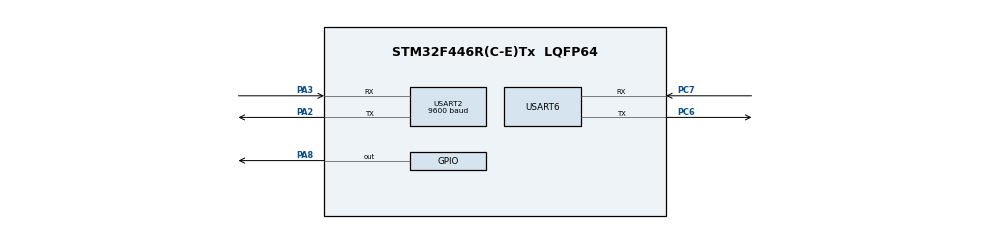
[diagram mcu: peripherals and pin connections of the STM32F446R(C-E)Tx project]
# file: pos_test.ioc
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Mcu.Family=STM32F4
Mcu.Name=STM32F446R(C-E)Tx
Mcu.Package=LQFP64
NVIC.PriorityGroup=NVIC_PRIORITYGROUP_4
PA13.Mode=Serial_Wire
PA13.Signal=SYS_JTMS-SWDIO
PA14.Mode=Serial_Wire
PA14.Signal=SYS_JTCK-SWCLK
PA2.Mode=Asynchronous
PA2.Signal=USART2_TX
PA3.Mode=Asynchronous
PA3.Signal=USART2_RX
PA8.Signal=GPIO_Output
PC6.Mode=Asynchronous
PC6.Signal=USART6_TX
PC7.Mode=Asynchronous
PC7.Signal=USART6_RX
ProjectManager.HeapSize=0x200
ProjectManager.StackSize=0x400
ProjectManager.TargetToolchain=STM32CubeIDE
RCC.CortexFreq_Value=16000000
RCC.USBFreq_Value=96000000
RCC.VCOOutputFreq_Value=192000000
USART2.BaudRate=9600
USART2.VirtualMode=VM_ASYNC
USART6.VirtualMode=VM_ASYNC
board=custom

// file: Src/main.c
/* USER CODE BEGIN Header */
/**
  ******************************************************************************
  * @file           : main.c
  * @brief          : Main program body
  ******************************************************************************
  * @attention
  *
  * <h2><center>&copy; Copyright (c) 2019 STMicroelectronics.
  * All rights reserved.</center></h2>
  *
  * This software component is licensed by ST under BSD 3-Clause license,
  * the "License"; You may not use this file except in compliance with the
  * License. You may obtain a copy of the License at:
  *                        opensource.org/licenses/BSD-3-Clause
  *
  ******************************************************************************
  */
/* USER CODE END Header */

#include "main.h"

UART_HandleTypeDef huart2;
UART_HandleTypeDef huart6;

void SystemClock_Config(void);
static void MX_GPIO_Init(void);
static void MX_USART2_UART_Init(void);
static void MX_USART6_UART_Init(void);

int main(void)
{

  /* MCU Configuration--------------------------------------------------------*/

  /* Reset of all peripherals, Initializes the Flash interface and the Systick. */
  HAL_Init();

  /* Configure the system clock */
  SystemClock_Config();

  /* Initialize all configured peripherals */
  MX_GPIO_Init();
  MX_USART2_UART_Init();
  MX_USART6_UART_Init();
  /* USER CODE BEGIN 2 */

  uint8_t txdata[9] = {0};

    void pos(unsigned char id,short deg,unsigned short time)
  {
      unsigned char deg_l = (unsigned char)(deg)&0x00FF;
      unsigned char deg_h = (unsigned char)(deg>>8)&0x00FF;
      unsigned char time_l = (unsigned char)(time)&0x00FF;
      unsigned char time_h = (unsigned char)(time>>8)&0x00FF;
      unsigned char sum = (0x09+0x06+id+deg_l+deg_h+time_l+time_h)&0x00FF;

      txdata[0]=0x09;   //1 SIZE
      txdata[1]=0x06;   //2 COMMAND
      txdata[2]=0x00;   //3 OPTION
      txdata[3]=id;     //4 ID
      txdata[4]=deg_l;  //5 POS_L
      txdata[5]=deg_h;  //6 POS_H
      txdata[6]=time_l; //7 TIME_L
      txdata[7]=time_h; //8 TIME_H
      txdata[8]=sum;    //9 SUM
      HAL_Delay(0.03);

  }

    void write(unsigned char id,unsigned char data,unsigned char adress)
    {
        unsigned char sum = (0x08+0x04+0x00+id+data+adress+0x01)&0x00FF;
       HAL_GPIO_WritePin(GPIOA, GPIO_PIN_8, 1);
       txdata[0]=0x08;   //1 SIZE
       txdata[1]=0x04;   //2 COMMAND
       txdata[2]=0x00;   //3 OPTION
       txdata[3]=id;     //4 ID
       txdata[4]=data;  //DATA
       txdata[5]=adress;  //ADRESS
       txdata[6]=0x01; //COUNT
       txdata[7]=sum;    //9 SUM
       HAL_UART_Transmit(&huart6, txdata, 8, 0xFFFF);
       HAL_Delay(0.03);
       HAL_GPIO_WritePin(GPIOA, GPIO_PIN_8, 0);

    }

  /* USER CODE END 2 */

  /* Infinite loop */
  while (1)
  {

    /* USER CODE BEGIN 3 */

//制御モード指定
	  write(0x01,0x00,0x28);
	  HAL_Delay(100);
//軌道生成タイプ１：時間制御
	  write(0x01,0x01,0x29);
	  HAL_Delay(100);

	  pos(0x01,10000,1000);
	  HAL_GPIO_WritePin(GPIOA, GPIO_PIN_8, 1);
	  HAL_UART_Transmit(&huart6, txdata, 9, 0xFFFF);
	  HAL_Delay(0.03);
	  HAL_GPIO_WritePin(GPIOA, GPIO_PIN_8, 0);
	  HAL_Delay(1000);

	  pos(0x01,0,1000);
	  HAL_GPIO_WritePin(GPIOA, GPIO_PIN_8, 1);
	  HAL_UART_Transmit(&huart6, txdata,9, 0xFFFF);
	  HAL_Delay(0.03);
	  HAL_GPIO_WritePin(GPIOA, GPIO_PIN_8, 0);
	  HAL_Delay(1000);

  }
  /* USER CODE END 3 */
}

void SystemClock_Config(void)
{
  RCC_OscInitTypeDef RCC_OscInitStruct = {0};
  RCC_ClkInitTypeDef RCC_ClkInitStruct = {0};

  /** Configure the main internal regulator output voltage
  */
  __HAL_RCC_PWR_CLK_ENABLE();
  __HAL_PWR_VOLTAGESCALING_CONFIG(PWR_REGULATOR_VOLTAGE_SCALE3);
  /** Initializes the CPU, AHB and APB busses clocks
  */
  RCC_OscInitStruct.OscillatorType = RCC_OSCILLATORTYPE_HSI;
  RCC_OscInitStruct.HSIState = RCC_HSI_ON;
  RCC_OscInitStruct.HSICalibrationValue = RCC_HSICALIBRATION_DEFAULT;
  RCC_OscInitStruct.PLL.PLLState = RCC_PLL_NONE;
  if (HAL_RCC_OscConfig(&RCC_OscInitStruct) != HAL_OK)
  {
    Error_Handler();
  }
  /** Initializes the CPU, AHB and APB busses clocks
  */
  RCC_ClkInitStruct.ClockType = RCC_CLOCKTYPE_HCLK|RCC_CLOCKTYPE_SYSCLK
                              |RCC_CLOCKTYPE_PCLK1|RCC_CLOCKTYPE_PCLK2;
  RCC_ClkInitStruct.SYSCLKSource = RCC_SYSCLKSOURCE_HSI;
  RCC_ClkInitStruct.AHBCLKDivider = RCC_SYSCLK_DIV1;
  RCC_ClkInitStruct.APB1CLKDivider = RCC_HCLK_DIV1;
  RCC_ClkInitStruct.APB2CLKDivider = RCC_HCLK_DIV1;

  if (HAL_RCC_ClockConfig(&RCC_ClkInitStruct, FLASH_LATENCY_0) != HAL_OK)
  {
    Error_Handler();
  }
}

static void MX_USART2_UART_Init(void)
{

  huart2.Instance = USART2;
  huart2.Init.BaudRate = 9600;
  huart2.Init.WordLength = UART_WORDLENGTH_8B;
  huart2.Init.StopBits = UART_STOPBITS_1;
  huart2.Init.Parity = UART_PARITY_NONE;
  huart2.Init.Mode = UART_MODE_TX_RX;
  huart2.Init.HwFlowCtl = UART_HWCONTROL_NONE;
  huart2.Init.OverSampling = UART_OVERSAMPLING_16;
  if (HAL_UART_Init(&huart2) != HAL_OK)
  {
    Error_Handler();
  }

}

static void MX_USART6_UART_Init(void)
{

  huart6.Instance = USART6;
  huart6.Init.BaudRate = 115200;
  huart6.Init.WordLength = UART_WORDLENGTH_8B;
  huart6.Init.StopBits = UART_STOPBITS_1;
  huart6.Init.Parity = UART_PARITY_NONE;
  huart6.Init.Mode = UART_MODE_TX_RX;
  huart6.Init.HwFlowCtl = UART_HWCONTROL_NONE;
  huart6.Init.OverSampling = UART_OVERSAMPLING_16;
  if (HAL_UART_Init(&huart6) != HAL_OK)
  {
    Error_Handler();
  }

}

static void MX_GPIO_Init(void)
{
  GPIO_InitTypeDef GPIO_InitStruct = {0};

  /* GPIO Ports Clock Enable */
  __HAL_RCC_GPIOA_CLK_ENABLE();
  __HAL_RCC_GPIOC_CLK_ENABLE();

  /*Configure GPIO pin Output Level */
  HAL_GPIO_WritePin(GPIOA, GPIO_PIN_8, GPIO_PIN_RESET);

  /*Configure GPIO pin : PA8 */
  GPIO_InitStruct.Pin = GPIO_PIN_8;
  GPIO_InitStruct.Mode = GPIO_MODE_OUTPUT_PP;
  GPIO_InitStruct.Pull = GPIO_NOPULL;
  GPIO_InitStruct.Speed = GPIO_SPEED_FREQ_LOW;
  HAL_GPIO_Init(GPIOA, &GPIO_InitStruct);

}

void Error_Handler(void)
{
}

/************************ (C) COPYRIGHT STMicroelectronics *****END OF FILE****/
